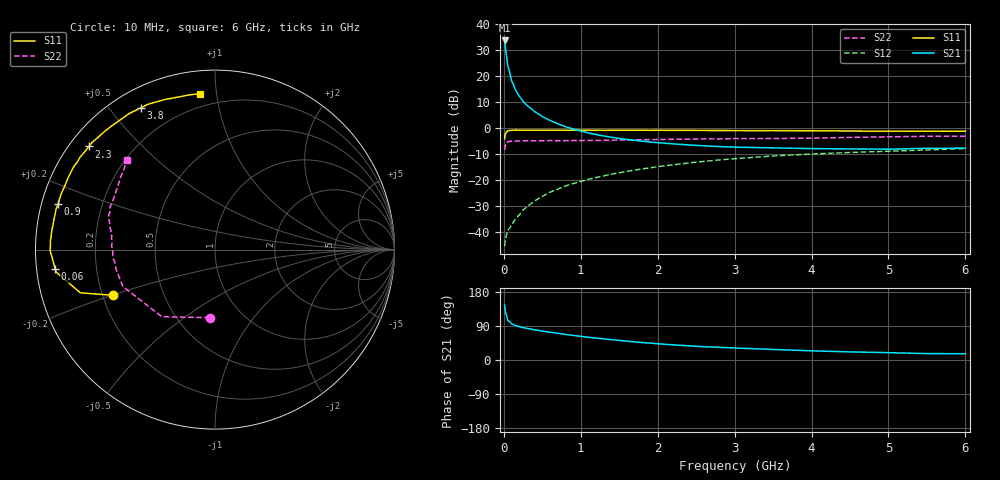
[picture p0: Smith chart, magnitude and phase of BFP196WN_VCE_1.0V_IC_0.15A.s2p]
! (c) 2017  Infineon Technologies AG, Munich
! Infineon Technologies  Discrete & RF Semiconductors
! BFP196WN
! VCE =  1.0 V,  IC = 0.15 A
! Common Emitter S-Parameters:  Jan 2017
# GHz  S  MA  R  50
!  f  S11  S21  S12  S22
! GHz  MAG  ANG  MAG  ANG  MAG  ANG  MAG  ANG
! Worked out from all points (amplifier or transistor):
!   77 points, 10 MHz to 6 GHz, reference 50 ohm
!   highest |S21| = 33.7 dB at 10 MHz (marker M1)
!   |S21| within 3 dB of that: start of sweep to 19.39 MHz
!   unconditionally stable (mu >= 1): start of sweep to 13.32 MHz; 151.1 MHz to end of sweep
!   at 130 MHz: K = 0.97, MSG = 26.1 dB, |S12| = -35.8 dB
!   at 2.2 GHz: K = 1.11, MAG = 2.0 dB, |S12| = -14.1 dB
!   at 6 GHz: K = 1.05, MAG = -1.3 dB, |S12| = -7.8 dB
!   S11 on the Smith chart (normalised r, x): 10 MHz: 0.24, -0.20; 60 MHz: 0.05, -0.06; 900 MHz: 0.05, +0.14; 2.3 GHz: 0.05, +0.36; 3.8 GHz: 0.08, +0.60; 6 GHz: 0.12, +0.90
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0.01  0.6251 -156.0  48.38 145.2  0.0054 51.5  0.3801 -94.3
0.02  0.7876 -162.2  33.49 125.0  0.0072 43.9  0.4768 -128.3
0.05  0.8944 -172.0  15.83 104.3  0.0107 38.3  0.5524 -158.0
0.06  0.8968 -173.1  14.27 103.3  0.0112 42.0  0.5527 -160.1
0.1  0.9097 -177.5  8.133 95.3  0.0135 53.7  0.5615 -168.5
0.15  0.9192 -179.8  5.469 90.9  0.018 58.6  0.563 -173.2
0.2  0.9171 178.2  4.112 88.0  0.0215 64.2  0.5708 -175.2
0.25  0.9185 177.0  3.294 85.5  0.0266 67.1  0.5699 -176.6
0.3  0.9163 175.7  2.753 83.5  0.0308 70.0  0.5697 -178.1
0.4  0.9154 173.4  2.08 79.6  0.0398 72.0  0.5708 -179.6
0.5  0.9128 171.2  1.672 76.3  0.0488 72.7  0.5738 179.0
0.7  0.9127 167.5  1.215 70.6  0.067 72.8  0.5743 176.6
0.9  0.91 163.8  0.962 64.9  0.0859 72.0  0.5778 174.9
1.1  0.9115 160.4  0.81 60.0  0.1042 70.6  0.5803 173.1
1.5  0.9107 153.8  0.633 51.7  0.1391 66.9  0.5893 169.7
2.1  0.9088 143.9  0.512 41.4  0.1895 61.0  0.6078 165.5
2.3  0.9074 140.7  0.487 38.8  0.2058 58.9  0.6127 164.1
3.1  0.8962 128.3  0.429 30.9  0.2653 49.9  0.6303 157.6
3.8  0.8916 117.7  0.41 25.7  0.3077 42.5  0.6378 150.4
4.1  0.8888 113.5  0.404 23.6  0.3231 39.5  0.6464 147.0
5.1  0.874 103.0  0.397 18.9  0.364 30.9  0.6837 137.4
6  0.8731 95.5  0.412 16.6  0.4065 24.6  0.7016 134.6
